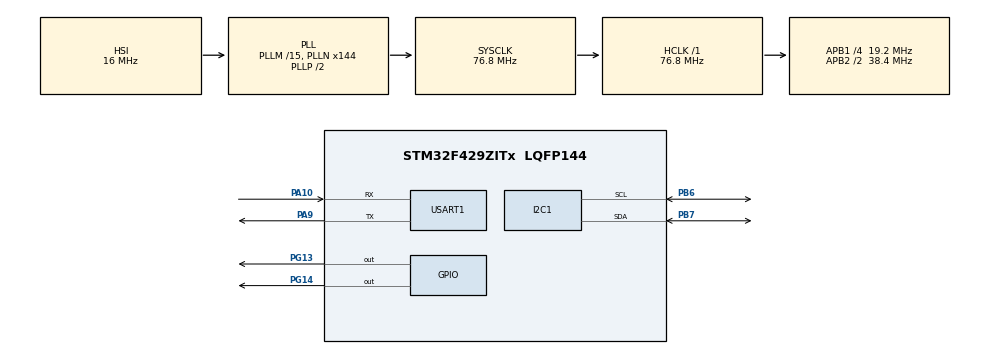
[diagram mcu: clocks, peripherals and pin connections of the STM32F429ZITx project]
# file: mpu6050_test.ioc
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Mcu.Family=STM32F4
Mcu.Name=STM32F429ZITx
Mcu.Package=LQFP144
NVIC.PriorityGroup=NVIC_PRIORITYGROUP_4
PA10.Mode=Asynchronous
PA10.Signal=USART1_RX
PA13.Mode=Trace_Asynchronous_SW
PA13.Signal=SYS_JTMS-SWDIO
PA14.Mode=Trace_Asynchronous_SW
PA14.Signal=SYS_JTCK-SWCLK
PA9.Mode=Asynchronous
PA9.Signal=USART1_TX
PB3.Mode=Trace_Asynchronous_SW
PB3.Signal=SYS_JTDO-SWO
PB6.Mode=I2C
PB6.Signal=I2C1_SCL
PB7.Mode=I2C
PB7.Signal=I2C1_SDA
PG13.Signal=GPIO_Output
PG14.Signal=GPIO_Output
ProjectManager.HeapSize=0x200
ProjectManager.StackSize=0x400
ProjectManager.TargetToolchain=Makefile
RCC.48MHZClocksFreq_Value=30720000
RCC.AHBFreq_Value=76800000
RCC.APB1CLKDivider=RCC_HCLK_DIV4
RCC.APB1Freq_Value=19200000
RCC.APB1TimFreq_Value=38400000
RCC.APB2CLKDivider=RCC_HCLK_DIV2
RCC.APB2Freq_Value=38400000
RCC.APB2TimFreq_Value=76800000
RCC.CortexFreq_Value=76800000
RCC.HCLKFreq_Value=76800000
RCC.HSE_VALUE=25000000
RCC.HSI_VALUE=16000000
RCC.LSE_VALUE=32768
RCC.PLLM=15
RCC.PLLN=144
RCC.PLLQ=5
RCC.SYSCLKFreq_VALUE=76800000
RCC.SYSCLKSource=RCC_SYSCLKSOURCE_PLLCLK
RCC.VCOOutputFreq_Value=153600000
USART1.VirtualMode=VM_ASYNC
board=custom

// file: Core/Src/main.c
/* USER CODE BEGIN Header */
/**
  ******************************************************************************
  * @file           : main.c
  * @brief          : Main program body
  ******************************************************************************
  * @attention
  *
  * Copyright (c) 2024 STMicroelectronics.
  * All rights reserved.
  *
  * This software is licensed under terms that can be found in the LICENSE file
  * in the root directory of this software component.
  * If no LICENSE file comes with this software, it is provided AS-IS.
  *
  ******************************************************************************
  */
/* USER CODE END Header */
#include "main.h"

/* USER CODE BEGIN Includes */
#include "mpu6050.h"
#include "IIRFirstOrderFilter.h"
/* USER CODE END Includes */

I2C_HandleTypeDef hi2c1;

UART_HandleTypeDef huart1;

/* USER CODE BEGIN PV */
IIRFilter iir_x;
IIRFilter iir_y;
IIRFilter iir_z;
/* USER CODE END PV */

void SystemClock_Config(void);
static void MX_GPIO_Init(void);
static void MX_I2C1_Init(void);
static void MX_USART1_UART_Init(void);

int main(void)
{

  /* MCU Configuration--------------------------------------------------------*/

  /* Reset of all peripherals, Initializes the Flash interface and the Systick. */
  HAL_Init();

  /* Configure the system clock */
  SystemClock_Config();

  /* Initialize all configured peripherals */
  MX_GPIO_Init();
  MX_I2C1_Init();
  MX_USART1_UART_Init();
  /* USER CODE BEGIN 2 */
  mpu6050_init(&hi2c1, &iir_x, &iir_y, &iir_z);

  double xAccel, yAccel, zAccel, zAccel_IIR;
  MPU6050_t mpu;
  /* USER CODE END 2 */

  /* Infinite loop */
  while (1)
  {

    /* USER CODE BEGIN 3 */
    mpu6050_readData(&hi2c1, &mpu, &iir_x, &iir_y, &iir_z);
    HAL_Delay(100);
    xAccel = mpu.Ax;
    yAccel = mpu.Ay;
    zAccel = mpu.Az;
    zAccel_IIR = mpu.Az_iir;
    char buf[500];
    int n = sprintf(buf, "%0.5f\r", (float)zAccel_IIR);
    HAL_UART_Transmit(&huart1, buf, n, 100);
    HAL_Delay(100);
  }
  /* USER CODE END 3 */
}

void SystemClock_Config(void)
{
  RCC_OscInitTypeDef RCC_OscInitStruct = {0};
  RCC_ClkInitTypeDef RCC_ClkInitStruct = {0};

  /** Configure the main internal regulator output voltage
  */
  __HAL_RCC_PWR_CLK_ENABLE();
  __HAL_PWR_VOLTAGESCALING_CONFIG(PWR_REGULATOR_VOLTAGE_SCALE3);

  /** Initializes the RCC Oscillators according to the specified parameters
  * in the RCC_OscInitTypeDef structure.
  */
  RCC_OscInitStruct.OscillatorType = RCC_OSCILLATORTYPE_HSI;
  RCC_OscInitStruct.HSIState = RCC_HSI_ON;
  RCC_OscInitStruct.HSICalibrationValue = RCC_HSICALIBRATION_DEFAULT;
  RCC_OscInitStruct.PLL.PLLState = RCC_PLL_ON;
  RCC_OscInitStruct.PLL.PLLSource = RCC_PLLSOURCE_HSI;
  RCC_OscInitStruct.PLL.PLLM = 15;
  RCC_OscInitStruct.PLL.PLLN = 144;
  RCC_OscInitStruct.PLL.PLLP = RCC_PLLP_DIV2;
  RCC_OscInitStruct.PLL.PLLQ = 5;
  if (HAL_RCC_OscConfig(&RCC_OscInitStruct) != HAL_OK)
  {
    Error_Handler();
  }

  /** Initializes the CPU, AHB and APB buses clocks
  */
  RCC_ClkInitStruct.ClockType = RCC_CLOCKTYPE_HCLK|RCC_CLOCKTYPE_SYSCLK
                              |RCC_CLOCKTYPE_PCLK1|RCC_CLOCKTYPE_PCLK2;
  RCC_ClkInitStruct.SYSCLKSource = RCC_SYSCLKSOURCE_PLLCLK;
  RCC_ClkInitStruct.AHBCLKDivider = RCC_SYSCLK_DIV1;
  RCC_ClkInitStruct.APB1CLKDivider = RCC_HCLK_DIV4;
  RCC_ClkInitStruct.APB2CLKDivider = RCC_HCLK_DIV2;

  if (HAL_RCC_ClockConfig(&RCC_ClkInitStruct, FLASH_LATENCY_2) != HAL_OK)
  {
    Error_Handler();
  }
}

static void MX_I2C1_Init(void)
{

  hi2c1.Instance = I2C1;
  hi2c1.Init.ClockSpeed = 100000;
  hi2c1.Init.DutyCycle = I2C_DUTYCYCLE_2;
  hi2c1.Init.OwnAddress1 = 0;
  hi2c1.Init.AddressingMode = I2C_ADDRESSINGMODE_7BIT;
  hi2c1.Init.DualAddressMode = I2C_DUALADDRESS_DISABLE;
  hi2c1.Init.OwnAddress2 = 0;
  hi2c1.Init.GeneralCallMode = I2C_GENERALCALL_DISABLE;
  hi2c1.Init.NoStretchMode = I2C_NOSTRETCH_DISABLE;
  if (HAL_I2C_Init(&hi2c1) != HAL_OK)
  {
    Error_Handler();
  }

  /** Configure Analogue filter
  */
  if (HAL_I2CEx_ConfigAnalogFilter(&hi2c1, I2C_ANALOGFILTER_ENABLE) != HAL_OK)
  {
    Error_Handler();
  }

  /** Configure Digital filter
  */
  if (HAL_I2CEx_ConfigDigitalFilter(&hi2c1, 0) != HAL_OK)
  {
    Error_Handler();
  }

}

static void MX_USART1_UART_Init(void)
{

  huart1.Instance = USART1;
  huart1.Init.BaudRate = 115200;
  huart1.Init.WordLength = UART_WORDLENGTH_8B;
  huart1.Init.StopBits = UART_STOPBITS_1;
  huart1.Init.Parity = UART_PARITY_NONE;
  huart1.Init.Mode = UART_MODE_TX_RX;
  huart1.Init.HwFlowCtl = UART_HWCONTROL_NONE;
  huart1.Init.OverSampling = UART_OVERSAMPLING_16;
  if (HAL_UART_Init(&huart1) != HAL_OK)
  {
    Error_Handler();
  }

}

static void MX_GPIO_Init(void)
{
  GPIO_InitTypeDef GPIO_InitStruct = {0};

  /* GPIO Ports Clock Enable */
  __HAL_RCC_GPIOA_CLK_ENABLE();
  __HAL_RCC_GPIOG_CLK_ENABLE();
  __HAL_RCC_GPIOB_CLK_ENABLE();

  /*Configure GPIO pin Output Level */
  HAL_GPIO_WritePin(GPIOG, GPIO_PIN_13|GPIO_PIN_14, GPIO_PIN_RESET);

  /*Configure GPIO pins : PG13 PG14 */
  GPIO_InitStruct.Pin = GPIO_PIN_13|GPIO_PIN_14;
  GPIO_InitStruct.Mode = GPIO_MODE_OUTPUT_PP;
  GPIO_InitStruct.Pull = GPIO_NOPULL;
  GPIO_InitStruct.Speed = GPIO_SPEED_FREQ_LOW;
  HAL_GPIO_Init(GPIOG, &GPIO_InitStruct);

}

void Error_Handler(void)
{
  __disable_irq();
  while (1)
  {
  }
}
